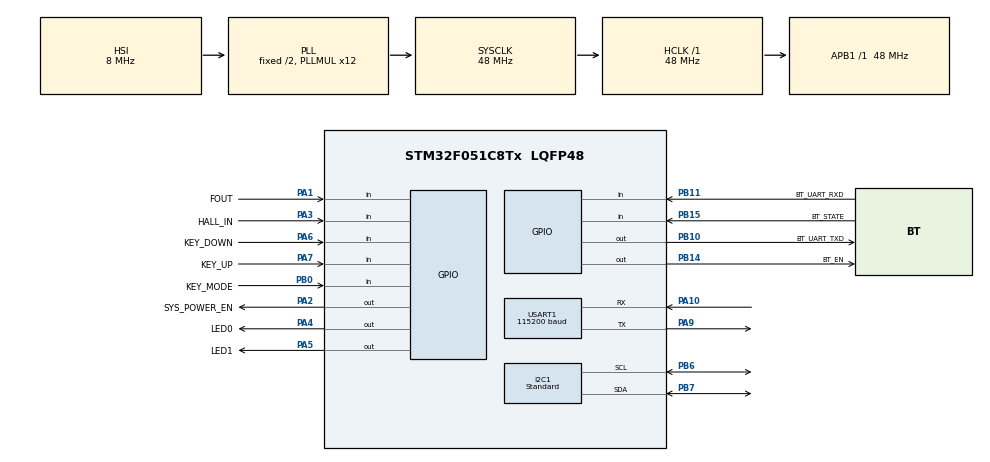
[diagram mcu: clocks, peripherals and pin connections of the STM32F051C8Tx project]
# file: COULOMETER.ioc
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I2C1.AddressingMode=I2C_ADDRESSINGMODE_7BIT
I2C1.Analog_Filter=I2C_ANALOGFILTER_ENABLE
I2C1.DualAddressMode=I2C_DUALADDRESS_DISABLE
I2C1.GeneralCallMode=I2C_GENERALCALL_DISABLE
I2C1.I2C_Coeff_DF=0
I2C1.I2C_Fall_Time=0
I2C1.I2C_Rise_Time=0
I2C1.I2C_Speed_Mode=I2C_Standard
I2C1.NoStretchMode=I2C_NOSTRETCH_DISABLE
I2C1.OwnAddress=0
I2C1.Speed=100
Mcu.Family=STM32F0
Mcu.Name=STM32F051C8Tx
Mcu.Package=LQFP48
NVIC.TIM1_BRK_UP_TRG_COM_IRQn=true\:0\:0\:false\:false\:true\:true\:true
PA1.GPIO_Label=FOUT
PA1.Signal=GPIO_Input
PA10.Mode=Asynchronous
PA10.Signal=USART1_RX
PA13.Mode=Serial_Wire
PA13.Signal=SYS_SWDIO
PA14.Mode=Serial_Wire
PA14.Signal=SYS_SWCLK
PA2.GPIO_Label=SYS_POWER_EN
PA2.Signal=GPIO_Output
PA3.GPIO_Label=HALL_IN
PA3.Signal=GPIO_Input
PA4.GPIO_Label=LED0
PA4.Signal=GPIO_Output
PA5.GPIO_Label=LED1
PA5.Signal=GPIO_Output
PA6.GPIO_Label=KEY_DOWN
PA6.Signal=GPIO_Input
PA7.GPIO_Label=KEY_UP
PA7.Signal=GPIO_Input
PA9.Mode=Asynchronous
PA9.Signal=USART1_TX
PB0.GPIO_Label=KEY_MODE
PB0.Signal=GPIO_Input
PB10.GPIO_Label=BT_UART_TXD
PB10.Signal=GPIO_Output
PB11.GPIO_Label=BT_UART_RXD
PB11.Signal=GPIO_Input
PB14.GPIO_Label=BT_EN
PB14.Signal=GPIO_Output
PB15.GPIO_Label=BT_STATE
PB15.Signal=GPIO_Input
PB6.Mode=I2C
PB6.Signal=I2C1_SCL
PB7.Mode=I2C
PB7.Signal=I2C1_SDA
PC14-OSC32_IN.Mode=LSE-External-Oscillator
PC14-OSC32_IN.Signal=RCC_OSC32_IN
PC15-OSC32_OUT.Mode=LSE-External-Oscillator
PC15-OSC32_OUT.Signal=RCC_OSC32_OUT
PF0-OSC_IN.Mode=HSE-External-Oscillator
PF0-OSC_IN.Signal=RCC_OSC_IN
PF1-OSC_OUT.Mode=HSE-External-Oscillator
PF1-OSC_OUT.Signal=RCC_OSC_OUT
ProjectManager.HeapSize=0x200
ProjectManager.StackSize=0x400
ProjectManager.TargetToolchain=MDK-ARM V5
RCC.AHBFreq_Value=48000000
RCC.APB1Freq_Value=48000000
RCC.APB1TimFreq_Value=48000000
RCC.FLatency=FLASH_LATENCY_1
RCC.HCLKFreq_Value=48000000
RCC.PLLMUL=RCC_PLL_MUL12
RCC.SYSCLKFreq_VALUE=48000000
RCC.SYSCLKSource=RCC_SYSCLKSOURCE_PLLCLK
USART1.AutoBaudRateEnableParam=UART_ADVFEATURE_AUTOBAUDRATE_DISABLE
USART1.BaudRate=115200
USART1.DMADisableonRxErrorParam=ADVFEATURE_DMA_ENABLEONRXERROR
USART1.DataInvertParam=ADVFEATURE_DATAINV_DISABLE
USART1.MSBFirstParam=ADVFEATURE_MSBFIRST_DISABLE
USART1.Mode=MODE_TX_RX
USART1.OneBitSampling=UART_ONE_BIT_SAMPLE_DISABLE
USART1.OverSampling=UART_OVERSAMPLING_16
USART1.OverrunDisableParam=ADVFEATURE_OVERRUN_ENABLE
USART1.Parity=PARITY_NONE
USART1.RxPinLevelInvertParam=ADVFEATURE_RXINV_DISABLE
USART1.StopBits=STOPBITS_1
USART1.SwapParam=ADVFEATURE_SWAP_DISABLE
USART1.TxPinLevelInvertParam=ADVFEATURE_TXINV_DISABLE
USART1.VirtualMode-Asynchronous=VM_ASYNC
USART1.WordLength=WORDLENGTH_8B
VP_TIM1_VS_ClockSourceINT.Mode=Internal
VP_TIM1_VS_ClockSourceITR.Mode=TriggerSource_ITR0
board=custom

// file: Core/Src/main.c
/* USER CODE BEGIN Header */
/**
  ******************************************************************************
  * @file           : main.c
  * @brief          : Main program body
  ******************************************************************************
  * @attention
  *
  * <h2><center>&copy; Copyright (c) 2021 STMicroelectronics.
  * All rights reserved.</center></h2>
  *
  * This software component is licensed by ST under BSD 3-Clause license,
  * the "License"; You may not use this file except in compliance with the
  * License. You may obtain a copy of the License at:
  *                        opensource.org/licenses/BSD-3-Clause
  *
  ******************************************************************************
  */
/* USER CODE END Header */
#include "main.h"
#include "i2c.h"
#include "tim.h"
#include "usart.h"
#include "gpio.h"

/* USER CODE BEGIN Includes */
#include "oled.h"
#include "ads1015.h"
/* USER CODE END Includes */

void SystemClock_Config(void);

/* USER CODE BEGIN 0 */
Sys_StausTypeDef Sys_Staus1;
/* USER CODE END 0 */

int main(void)
{
  /* USER CODE BEGIN 1 */
	uint8_t Seconds[1];
	uint8_t temp1,temp2;
  /* USER CODE END 1 */

  /* MCU Configuration--------------------------------------------------------*/

  /* Reset of all peripherals, Initializes the Flash interface and the Systick. */
  HAL_Init();

  /* Configure the system clock */
  SystemClock_Config();

  /* Initialize all configured peripherals */
  MX_GPIO_Init();
  MX_I2C1_Init();
  MX_USART1_UART_Init();
  MX_TIM1_Init();
  /* USER CODE BEGIN 2 */
  printf("Hello, i am %s\n\r", "mculover666");
  printf("Test int: i = %d\n\r", 100);
  printf("Test float: i = %f\n\r", 1.234);
  printf("Test hex: i = 0x%2x\n\r",100);

	uint8_t A[]="hellow world !!";
	//初始化oled屏幕
  OLED_Init();
	//开启OLED显示
	OLED_Display_On();
	//清屏
	OLED_Clear();
//	OLED_ShowNum(10,10,10,8,8);
//	OLED_ShowChar(0, 0,'C',16);
//	OLED_ShowString(0,0,A,sizeof(A),0);
//	OLED_ShowString(0,2,A,sizeof(A));
//	OLED_ShowString(0,4,A,sizeof(A));
//	OLED_ShowString(0,6,A,sizeof(A));
		//清行
//	OLED_Clearrow(2);
//	OLED_Clearrow(3);
//	OLED_DrawBMP(0, 0,128,8,BMP3);
	Sys_Staus1.RTC_Hours = 23;
	Sys_Staus1.RTC_Minutes = 59;
	Sys_Staus1.RTC_Seconds = 59;
	Sys_Staus1.Total_Capicity = 400;
//	Sys_Staus1.Voltage = 720;
	Sys_Staus1.Current = 100;
	Sys_Staus1.Chrg_or_Dischrg = 1;
	Sys_Staus1.Power = 720;
	OLED_Display_Main(Sys_Staus1);
//	OLED_DrawBMP(0, 0,128, 64,BMP4);

  /* USER CODE END 2 */

  /* Infinite loop */
  while (1)
  {
		HAL_GPIO_TogglePin(LED0_GPIO_Port, LED0_Pin);
//		HAL_Delay(500);
		HAL_GPIO_TogglePin(LED1_GPIO_Port, LED1_Pin);
//		HAL_Delay(500);

//		RX8025_Read_nBytes(Seconds, 0x0, 1);
//		printf("Address 0x00 value is : 0x%x\n\r",Seconds[0]);
//		temp1 = Seconds[0];
//		temp2 = Seconds[0];
////		Seconds[0] = ((Seconds[0]&0x70)>>4)*10 + Seconds[0]&0x0f;
//		temp1 = ((temp1&0x70)>>4)*10;
//		temp2 = temp2&0x0f;
//		printf("Current seconds is : %us\n\r",temp1+temp2);
//		Sys_Staus1.RTC_Seconds = temp1+temp2;
		ADS1015_Value_Process();
		OLED_Display_Main(Sys_Staus1);
  }
}

void SystemClock_Config(void)
{
  RCC_OscInitTypeDef RCC_OscInitStruct = {0};
  RCC_ClkInitTypeDef RCC_ClkInitStruct = {0};
  RCC_PeriphCLKInitTypeDef PeriphClkInit = {0};

  /** Initializes the RCC Oscillators according to the specified parameters
  * in the RCC_OscInitTypeDef structure.
  */
  RCC_OscInitStruct.OscillatorType = RCC_OSCILLATORTYPE_HSI;
  RCC_OscInitStruct.HSIState = RCC_HSI_ON;
  RCC_OscInitStruct.HSICalibrationValue = RCC_HSICALIBRATION_DEFAULT;
  RCC_OscInitStruct.PLL.PLLState = RCC_PLL_ON;
  RCC_OscInitStruct.PLL.PLLSource = RCC_PLLSOURCE_HSI;
  RCC_OscInitStruct.PLL.PLLMUL = RCC_PLL_MUL12;
  RCC_OscInitStruct.PLL.PREDIV = RCC_PREDIV_DIV1;
  if (HAL_RCC_OscConfig(&RCC_OscInitStruct) != HAL_OK)
  {
    Error_Handler();
  }
  /** Initializes the CPU, AHB and APB buses clocks
  */
  RCC_ClkInitStruct.ClockType = RCC_CLOCKTYPE_HCLK|RCC_CLOCKTYPE_SYSCLK
                              |RCC_CLOCKTYPE_PCLK1;
  RCC_ClkInitStruct.SYSCLKSource = RCC_SYSCLKSOURCE_PLLCLK;
  RCC_ClkInitStruct.AHBCLKDivider = RCC_SYSCLK_DIV1;
  RCC_ClkInitStruct.APB1CLKDivider = RCC_HCLK_DIV1;

  if (HAL_RCC_ClockConfig(&RCC_ClkInitStruct, FLASH_LATENCY_1) != HAL_OK)
  {
    Error_Handler();
  }
  PeriphClkInit.PeriphClockSelection = RCC_PERIPHCLK_USART1|RCC_PERIPHCLK_I2C1;
  PeriphClkInit.Usart1ClockSelection = RCC_USART1CLKSOURCE_PCLK1;
  PeriphClkInit.I2c1ClockSelection = RCC_I2C1CLKSOURCE_HSI;
  if (HAL_RCCEx_PeriphCLKConfig(&PeriphClkInit) != HAL_OK)
  {
    Error_Handler();
  }
}

void Error_Handler(void)
{
  __disable_irq();
  while (1)
  {
  }
}

/************************ (C) COPYRIGHT STMicroelectronics *****END OF FILE****/
